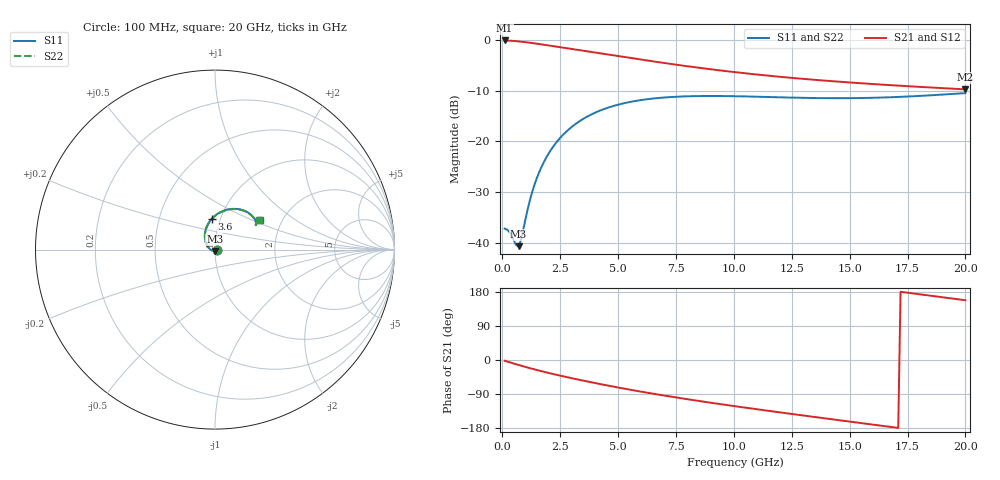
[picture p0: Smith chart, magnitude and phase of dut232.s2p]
! Touchstone file exported from HFSS 2023.1.0
!  File:  D:/Users/fzz/RDL_TSV/temp_RDL_TSV_232_1778758624.aedt
!  Generated:  7:49:40 %x4E0B%x5348  5%x6708 14, 2026
!  Design:  RDL_TSV
!  Project:  temp_RDL_TSV_232_1778758624
!  Setup:  Setup1
!  Solution:  Sweep
! Variables:
!  dtsv = 12.39um
!  hbump = 3um
!  htsv = 74.45um
!  ldown = 370.87um
!  lrdl = 434.41um
!  p = 40
!  p1 = 57.77um
!  rhole = 10um
!  subl = 2850.25um
!  t = 450um
!  tdown = 2.83um
!  trdl = 3.05um
!  viad = 10um
!  wdown = 21.66um
!  wrdl = 29.17um
!  xbump = 18um
# GHz S MA R 50.000000
! Terminal data exported
! Port[1] = TM1_1_T1
! Port[2] = TM1_4_T1
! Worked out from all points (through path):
!   200 points, 100 MHz to 20 GHz, reference 50 ohm
!   highest |S21| = -0.13 dB at 100 MHz (marker M1); lowest = -9.8 dB at 20 GHz (marker M2)
!   group delay of S21, straight-line fit = 26.3 ps
!   lowest |S11| = -40.6 dB at 700 MHz (marker M3), VSWR 1.02, Z = 49.9 - j0.919 ohm
!   |S11| at or under -10 dB: start of sweep to end of sweep
!   |S22| runs from -40.6 to -10.6 dB; largest |S21 - S12| = 1.7e-14
!   S11 on the Smith chart (normalised r, x): 100 MHz: 1.03, -0.00; 3.6 GHz: 0.91, +0.32; 20 GHz: 1.54, +0.56
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0.1  0.01388 -6.2  0.9854 -2.0  0.9854 -2.0  0.01388 -6.2
! Gamma 0 0 0 0
! Port Impedance 50 0 50 0
0.3  0.01292 -22.9  0.9809 -5.8  0.9809 -5.8  0.01293 -22.9
0.6  0.009521 -71.7  0.9696 -11.3  0.9696 -11.3  0.009542 -71.5
0.7  0.009317 -98.3  0.9649 -13.1  0.9649 -13.1  0.009326 -98.0
0.8  0.01059 -125.3  0.9597 -14.9  0.9597 -14.9  0.01057 -125.0
1.1  0.02172 -174.5  0.9421 -20.0  0.9421 -20.0  0.02161 -174.3
1.3  0.03228 169.0  0.929 -23.4  0.929 -23.4  0.03211 169.1
1.5  0.04405 157.2  0.9154 -26.6  0.9154 -26.6  0.04382 157.2
1.8  0.06296 143.6  0.8944 -31.2  0.8944 -31.2  0.06264 143.6
2.1  0.08249 132.8  0.8733 -35.6  0.8733 -35.6  0.08208 132.8
2.5  0.1084 120.8  0.8457 -41.3  0.8457 -41.3  0.1078 120.8
3  0.1391 108.4  0.8124 -48.0  0.8124 -48.0  0.1384 108.4
3.5  0.1669 98.0  0.7804 -54.5  0.7804 -54.5  0.1661 98.0
3.6  0.1721 96.1  0.7742 -55.8  0.7742 -55.8  0.1712 96.0
5  0.2299 74.2  0.6916 -72.6  0.6916 -72.6  0.2287 74.1
6.8  0.2683 55.2  0.6 -91.9  0.6 -91.9  0.2669 55.1
8.4  0.2794 44.0  0.5341 -107.3  0.5341 -107.3  0.2778 43.9
10.1  0.2784 36.5  0.4791 -122.4  0.4791 -122.4  0.2768 36.3
11.7  0.2728 32.6  0.4388 -135.8  0.4388 -135.8  0.2712 32.4
13.4  0.2674 31.1  0.4054 -149.7  0.4054 -149.7  0.2658 30.9
16.7  0.2717 32.5  0.3586 -176.1  0.3586 -176.1  0.27 32.2
20  0.2988 33.7  0.3254 157.7  0.3254 157.7  0.2967 33.4
